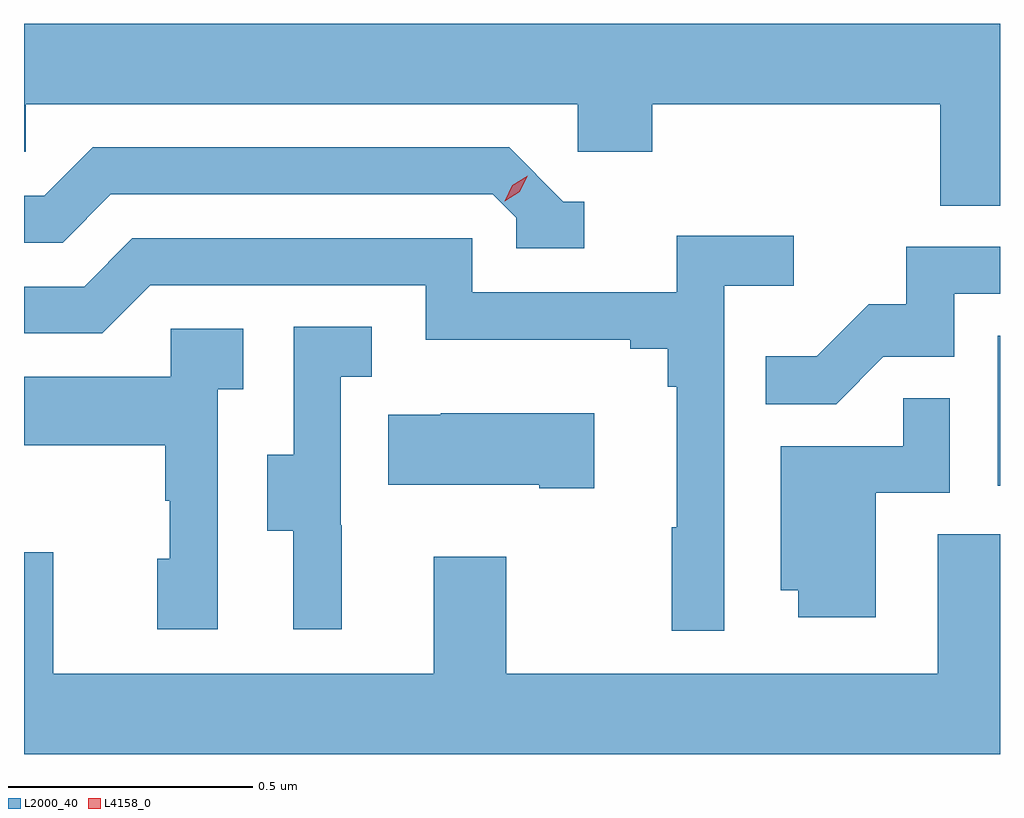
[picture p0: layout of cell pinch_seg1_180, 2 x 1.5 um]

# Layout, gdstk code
import gdstk
lib = gdstk.Library(unit=1e-6, precision=1e-09)
def R(c, l, rs):  # rectangles x0, y0, x1, y1
    for r in rs: c.add(gdstk.rectangle(r[:2], r[2:], *l))
def P(c, l, *ps):  # polygons
    for p in ps: c.add(gdstk.Polygon(p, *l))
L2000_40 = (2000, 40)
L4158_0 = (4158, 0)

pinch_seg1_180 = lib.new_cell('pinch_seg1_180')
R(pinch_seg1_180, L2000_40, [(1102.868,548.286,1102.873,548.593)])
P(pinch_seg1_180, L2000_40, [(1102.873,549.232),(1100.873,549.232),(1100.873,548.97),(1100.877,548.97),(1100.877,549.068),(1102.008,549.068),(1102.008,548.97),(1102.16,548.97),(1102.16,549.068),(1102.751,549.068),(1102.751,548.86),(1102.873,548.86)],
  [(1102.021,548.868),(1101.978,548.868),(1101.867,548.979),(1101.014,548.979),(1100.915,548.88),(1100.873,548.88),(1100.873,548.784),(1100.952,548.784),(1101.051,548.883),(1101.834,548.883),(1101.882,548.835),(1101.882,548.772),(1102.021,548.772)],
  [(1102.308,548.696),(1102.45,548.696),(1102.45,548.798),(1102.211,548.798),(1102.211,548.682),(1101.792,548.682),(1101.792,548.793),(1101.095,548.793),(1100.996,548.694),(1100.873,548.694),(1100.873,548.598),(1101.033,548.598),(1101.132,548.697),(1101.696,548.697),(1101.696,548.585),(1102.115,548.585),(1102.115,548.566),(1102.192,548.566),(1102.192,548.489),(1102.211,548.489),(1102.211,548.201),(1102.2,548.201),(1102.2,547.989),(1102.308,547.989)],
  [(1102.634,548.55),(1102.779,548.55),(1102.779,548.679),(1102.873,548.679),(1102.873,548.775),(1102.681,548.775),(1102.681,548.658),(1102.604,548.658),(1102.497,548.551),(1102.393,548.551),(1102.393,548.453),(1102.537,548.453)],
  [(1101.524,548.205),(1101.522,548.205),(1101.522,548.509),(1101.586,548.509),(1101.586,548.612),(1101.426,548.612),(1101.426,548.349),(1101.371,548.349),(1101.371,548.194),(1101.425,548.194),(1101.425,547.992),(1101.524,547.992)],
  [(1101.27,548.483),(1101.322,548.483),(1101.322,548.607),(1101.174,548.607),(1101.174,548.509),(1100.873,548.509),(1100.873,548.369),(1101.162,548.369),(1101.162,548.255),(1101.172,548.255),(1101.172,548.136),(1101.146,548.136),(1101.146,547.992),(1101.27,547.992)],
  [(1102.618,548.271),(1102.77,548.271),(1102.77,548.465),(1102.675,548.465),(1102.675,548.367),(1102.424,548.367),(1102.424,548.072),(1102.46,548.072),(1102.46,548.016),(1102.618,548.016)],
  [(1102.042,548.434),(1101.727,548.434),(1101.727,548.431),(1101.619,548.431),(1101.619,548.288),(1101.929,548.288),(1101.929,548.281),(1102.042,548.281)],
  [(1102.873,548.186),(1102.745,548.186),(1102.745,547.9),(1101.861,547.9),(1101.861,548.14),(1101.713,548.14),(1101.713,547.9),(1100.933,547.9),(1100.933,548.149),(1100.873,548.149),(1100.873,547.736),(1102.873,547.736)])
P(pinch_seg1_180, L4158_0, [(1101.858,548.869),(1101.858,548.869),(1101.874,548.902),(1101.905,548.921),(1101.905,548.921),(1101.905,548.921),(1101.889,548.888),(1101.858,548.869)])

lib.write_gds('pinch_seg1_180.gds')
